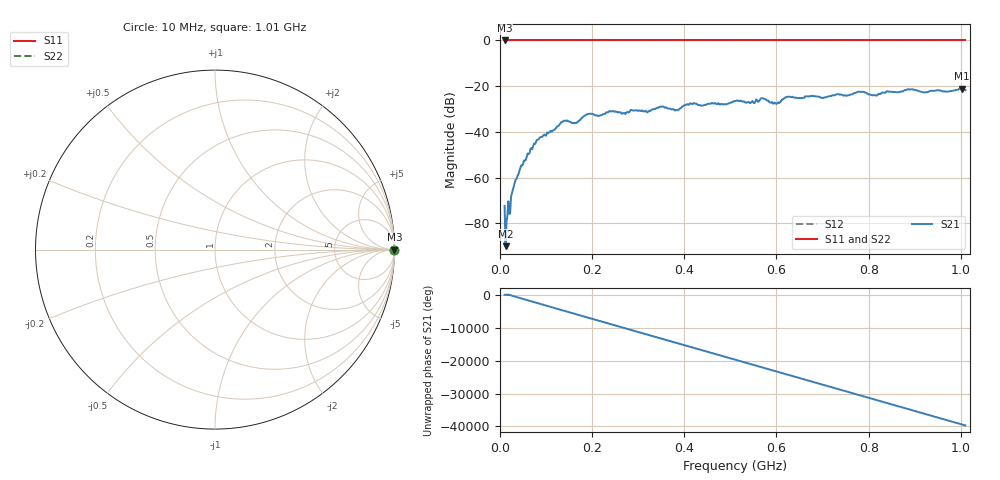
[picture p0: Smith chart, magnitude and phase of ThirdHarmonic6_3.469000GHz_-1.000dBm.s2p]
! 8/17/2025 11:15:13 AM
! C:\ANRITSUVNA\TEMP\TEMP.S2P
! CHANNEL.1
! TR.MEASUREMENT
! RAW.DATA
! RF.CORRECTION.OFF
! AVERAGING.OFF
! IF.BANDWIDTH: 5KHZ
! SWEEPTYPE:  FREQ.SWEEP(Linear)
! Reference Plane Port Info
! PORT:  PORT1  PORT2
! DISTANCE:  0  m  0  m
! TIME:  0  s  0  s
! PHASE.OFFSET:  0  deg.  0  deg.
! LOSS:  0  dB  0  dB
! REF.LOSS:  0  dB  0  dB
! REF.FREQ:  0  Hz  0  Hz
! Power Info
! POWER:  -20  dBm  -20  dBm
! EFF.POWER:  -20  dBm  -20  dBm
! SOURCE.ATTEN:  0  dB  0  dB
! TEST.ATTEN:  0  dB  0  dB
# GHZ S RI R 50.0
! FREQ.GHZ  S11RE  S11IM  S21RE  S21IM  S12RE  S12IM  S22RE  S22IM
!; PortSelection: Port_12
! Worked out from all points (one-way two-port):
!   501 points, 10 MHz to 1.01 GHz, reference 50 ohm
!   highest |S21| = -21.04 dB at 1.002 GHz (marker M1); lowest = -90.0 dB at 12 MHz (marker M2)
!   lowest |S11| = 0.0 dB at 10 MHz (marker M3)
!   |S11| at or under -10 dB: nowhere
!   |S22| runs from 0.0 to 0.0 dB; largest |S21 - S12| = 1.1
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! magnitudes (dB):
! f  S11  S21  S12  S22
! 10 MHz  0.0  -72.3  0.0  0.0
! 12 MHz  0.0  -90.0  0.0  0.0
! 18 MHz  0.0  -70.3  0.0  0.0
! 28 MHz  0.0  -65.1  0.0  0.0
! 42 MHz  0.0  -57.0  0.0  0.0
! 78 MHz  0.0  -44.5  0.0  0.0
! 136 MHz  0.0  -35.7  0.0  0.0
! 164 MHz  0.0  -36.1  0.0  0.0
! 178 MHz  0.0  -33.8  0.0  0.0
! 344 MHz  0.0  -29.4  0.0  0.0
! 384 MHz  0.0  -30.5  0.0  0.0
! 416 MHz  0.0  -27.8  0.0  0.0
! 510 MHz  0.0  -26.5  0.0  0.0
! 570 MHz  0.0  -25.2  0.0  0.0
! 596 MHz  0.0  -27.2  0.0  0.0
! 624 MHz  0.0  -24.6  0.0  0.0
! 678 MHz  0.0  -24.3  0.0  0.0
! 782 MHz  0.0  -22.5  0.0  0.0
! 814 MHz  0.0  -23.9  0.0  0.0
! 844 MHz  0.0  -22.4  0.0  0.0
! 1.002 GHz  0.0  -21.0  0.0  0.0
! 1.01 GHz  0.0  -21.7  0.0  0.0
